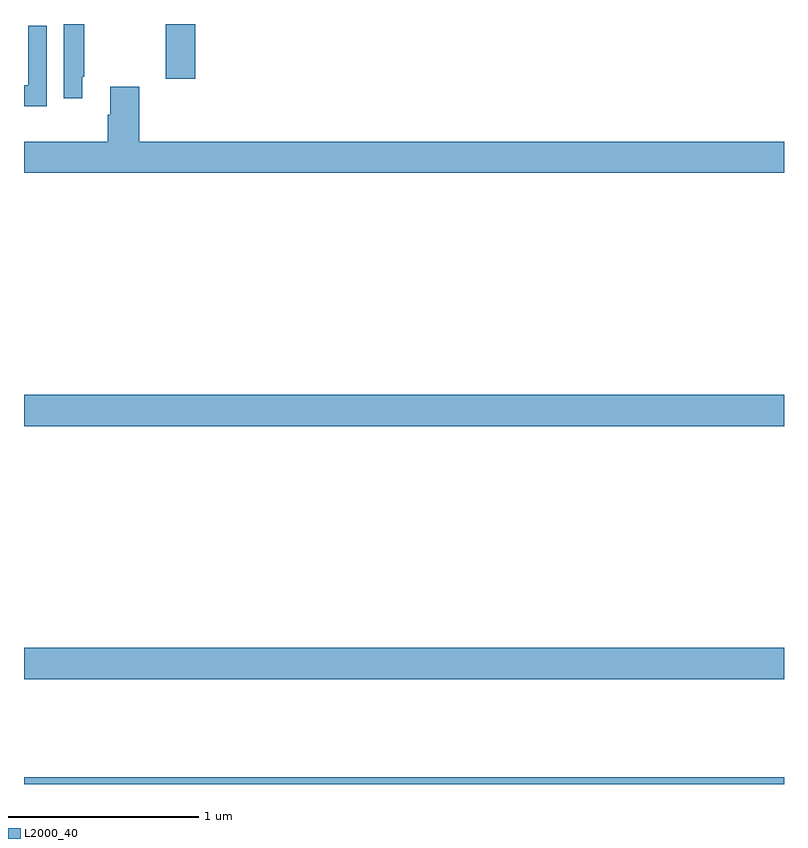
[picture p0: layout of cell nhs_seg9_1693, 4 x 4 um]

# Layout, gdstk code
import gdstk
lib = gdstk.Library(unit=1e-6, precision=1e-09)
def R(c, l, rs):  # rectangles x0, y0, x1, y1
    for r in rs: c.add(gdstk.rectangle(r[:2], r[2:], *l))
def P(c, l, *ps):  # polygons
    for p in ps: c.add(gdstk.Polygon(p, *l))
L2000_40 = (2000, 40)

nhs_seg9_1693 = lib.new_cell('nhs_seg9_1693')
R(nhs_seg9_1693, L2000_40, [(205,1230.5,209,1230.536), (205,1231.052,209,1231.216), (205,1232.384,209,1232.548), (205.747,1234.212,205.901,1234.5)])
P(nhs_seg9_1693, L2000_40, [(205.306,1234.222),(205.318,1234.222),(205.318,1234.5),(205.209,1234.5),(205.209,1234.11),(205.306,1234.11)],
  [(205.119,1234.492),(205.022,1234.492),(205.022,1234.177),(205,1234.177),(205,1234.068),(205.119,1234.068)],
  [(209,1233.88),(205.607,1233.88),(205.607,1234.171),(205.454,1234.171),(205.454,1234.022),(205.442,1234.022),(205.442,1233.88),(205,1233.88),(205,1233.716),(209,1233.716)])

lib.write_gds('nhs_seg9_1693.gds')
